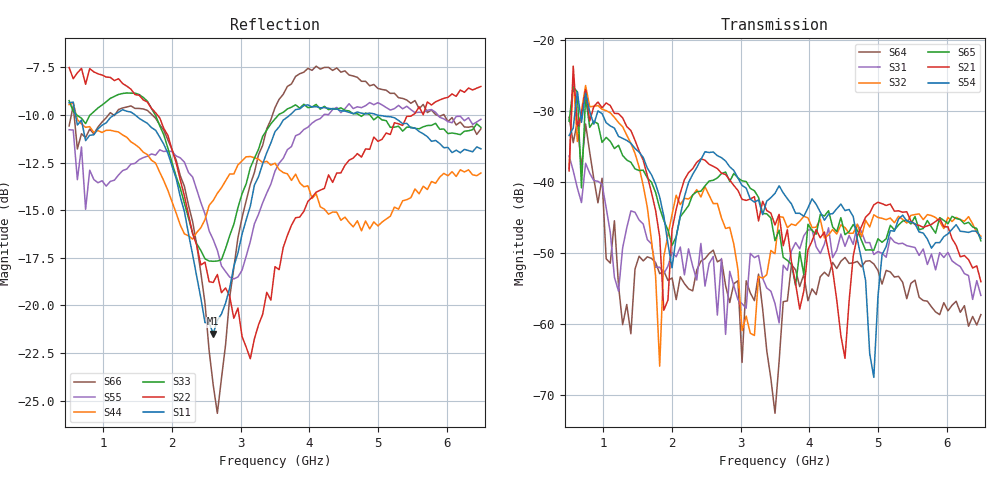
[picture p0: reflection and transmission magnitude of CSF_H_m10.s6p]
!Keysight Technologies,M9804A,MY58100912,A.14.10.03
!Date: Thursday, April 27, 2023 10:28:33
!Correction: S11(C  6-Port  )
!S12(C  6-Port  )
!S13(C  6-Port  )
!S14(C  6-Port  )
!S15(C  6-Port  )
!S16(C  6-Port  )
!S21(C  6-Port  )
!S22(C  6-Port  )
!S23(C  6-Port  )
!S24(C  6-Port  )
!S25(C  6-Port  )
!S26(C  6-Port  )
!S31(C  6-Port  )
!S32(C  6-Port  )
!S33(C  6-Port  )
!S34(C  6-Port  )
!S35(C  6-Port  )
!S36(C  6-Port  )
!S41(C  6-Port  )
!S42(C  6-Port  )
!S43(C  6-Port  )
!S44(C  6-Port  )
!S45(C  6-Port  )
!S46(C  6-Port  )
!S51(C  6-Port  )
!S52(C  6-Port  )
!S53(C  6-Port  )
!S54(C  6-Port  )
!S55(C  6-Port  )
!S56(C  6-Port  )
!S61(C  6-Port  )
!S62(C  6-Port  )
!S63(C  6-Port  )
!S64(C  6-Port  )
!S65(C  6-Port  )
!S66(C  6-Port  )
!S6P File: Measurement: :
# Hz S  RI  R 50
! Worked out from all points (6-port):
!   101 points, 500 MHz to 6.5 GHz, reference 50 ohm
!   strongest paths, dB at 500 MHz, 2 GHz, 3.5 GHz, 5 GHz, 6.5 GHz:
!     S54: -33.4, -52.1, -41.6, -56.1, -47.9
!     S21: -38.4, -46.7, -46.0, -42.8, -54.0
!     S65: -31.4, -48.9, -48.2, -48.0, -48.3
!     S32: -38.1, -44.5, -50.1, -45.0, -47.6
!     S31: -36.3, -49.9, -57.1, -49.8, -55.9
!     S64: -30.8, -53.5, -72.6, -52.4, -58.7
!   lowest |S11| = -21.5 dB at 2.6 GHz (marker M1), VSWR 1.18, Z = 42.5 + j2.23 ohm
!   |S11| at or under -10 dB: 593.8 MHz to 1.154 GHz (560.5 MHz wide, 64.1 % of centre); 1.463 GHz to 3.717 GHz (2.254 GHz wide, 87 % of centre); 4.988 GHz to end of sweep
